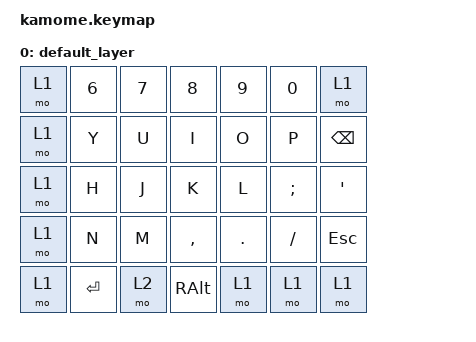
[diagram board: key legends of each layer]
/*
 * Copyright (c) 2022 The ZMK Contributors
 *
 * SPDX-License-Identifier: MIT
 */

#include <behaviors.dtsi>
#include <dt-bindings/zmk/keys.h>
#include <dt-bindings/zmk/backlight.h>
#include <dt-bindings/zmk/bt.h>
#include <dt-bindings/zmk/ext_power.h>
#include <dt-bindings/zmk/rgb.h>

// Uncomment the following lines if using the "Direct Wire" jumper to switch the matrix to a direct wire. sdf

// / {
//     chosen {
//         zmk,physical-layout = &direct_physical_layout;
//     };
// };

/ {
    keymap {
        compatible = "zmk,keymap";

        default_layer {
            bindings = <
                &mo 1 &kp N6 &kp N7 &kp N8 &kp N9 &kp N0 &mo 1
                &mo 1 &kp Y &kp U  &kp I     &kp O   &kp P    &kp BSPC
                &mo 1 &kp H &kp J  &kp K     &kp L   &kp SEMI &kp SQT
                &mo 1 &kp N &kp M  &kp COMMA &kp DOT &kp FSLH &kp ESC
                &mo 1 &kp RET &mo 2 &kp RALT &mo 1 &mo 1 &mo 1


//                &kp Q &kp W &kp E &kp R &kp T &kp Y &kp U
  //              &kp A &kp S &kp D &kp F &kp G &kp H &kp J
    //            &kp Z &kp X &kp C &kp V &kp B &kp N &kp M
      //          &kp ESC &kp TAB &kp LSFT &kp LCTRL &kp SPACE &kp RET &kp DEL
        //        &kp N1 &kp N2 &kp N3 &kp N4 &kp N5 &kp N6 &mo 1
            >;
        };
    };
};
